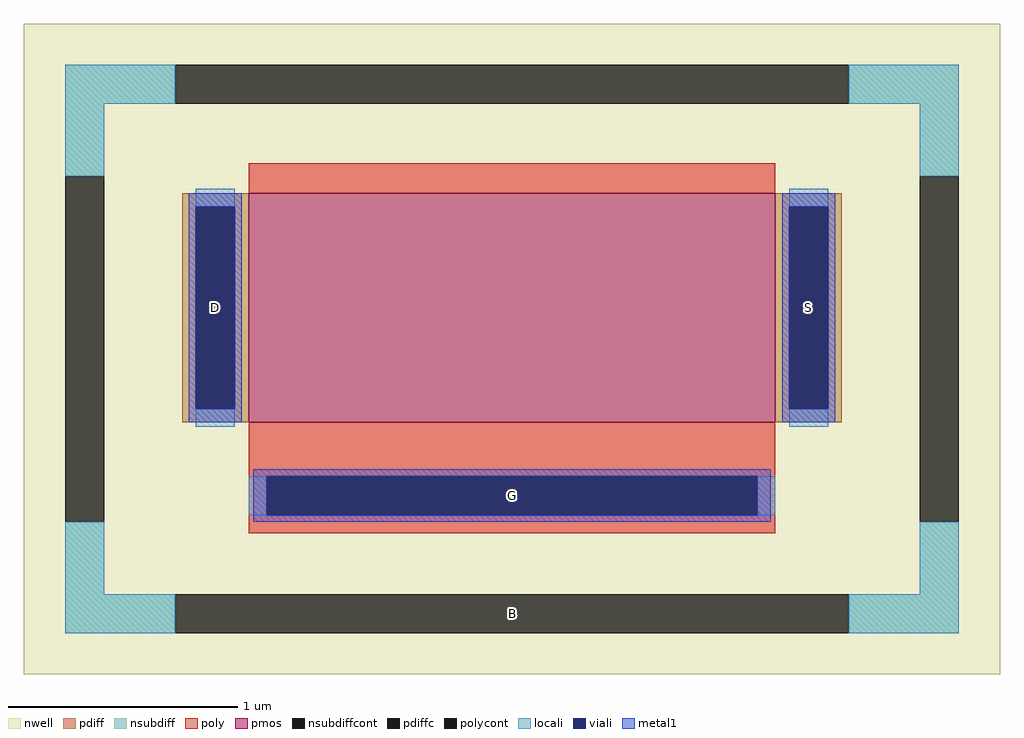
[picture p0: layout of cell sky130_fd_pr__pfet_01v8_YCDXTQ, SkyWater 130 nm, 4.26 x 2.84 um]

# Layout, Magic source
magic
tech sky130A
magscale 1 2
<< nwell >>
rect -426 -284 426 284
<< pmos >>
rect -230 -64 230 136
<< pdiff >>
rect -288 124 -230 136
rect -288 -52 -276 124
rect -242 -52 -230 124
rect -288 -64 -230 -52
rect 230 124 288 136
rect 230 -52 242 124
rect 276 -52 288 124
rect 230 -64 288 -52
<< pdiffc >>
rect -276 -52 -242 124
rect 242 -52 276 124
<< nsubdiff >>
rect -390 214 -294 248
rect 294 214 390 248
rect -390 151 -356 214
rect 356 151 390 214
rect -390 -214 -356 -151
rect 356 -214 390 -151
rect -390 -248 -294 -214
rect 294 -248 390 -214
<< nsubdiffcont >>
rect -294 214 294 248
rect -390 -151 -356 151
rect 356 -151 390 151
rect -294 -248 294 -214
<< poly >>
rect -230 136 230 162
rect -230 -111 230 -64
rect -230 -145 -214 -111
rect 214 -145 230 -111
rect -230 -161 230 -145
<< polycont >>
rect -214 -145 214 -111
<< locali >>
rect -390 214 -294 248
rect 294 214 390 248
rect -390 151 -356 214
rect 356 151 390 214
rect -276 124 -242 140
rect -276 -68 -242 -52
rect 242 124 276 140
rect 242 -68 276 -52
rect -230 -145 -214 -111
rect 214 -145 230 -111
rect -390 -214 -356 -151
rect 356 -214 390 -151
rect -390 -248 -294 -214
rect 294 -248 390 -214
<< viali >>
rect -276 -52 -242 124
rect 242 -52 276 124
rect -214 -145 214 -111
<< metal1 >>
rect -282 124 -236 136
rect -282 -52 -276 124
rect -242 -52 -236 124
rect -282 -64 -236 -52
rect 236 124 282 136
rect 236 -52 242 124
rect 276 -52 282 124
rect 236 -64 282 -52
rect -226 -111 226 -105
rect -226 -145 -214 -111
rect 214 -145 226 -111
rect -226 -151 226 -145
<< labels >>
rlabel nsubdiffcont 0 -231 0 -231 0 B
port 1 nsew
rlabel pdiffc -259 36 -259 36 0 D
port 2 nsew
rlabel pdiffc 259 36 259 36 0 S
port 3 nsew
rlabel polycont 0 -128 0 -128 0 G
port 4 nsew
<< properties >>
string FIXED_BBOX -373 -231 373 231
string gencell sky130_fd_pr__pfet_01v8
string library sky130
string parameters w 1 l 2.3 m 1 nf 1 diffcov 100 polycov 100 guard 1 glc 1 grc 1 gtc 1 gbc 1 tbcov 100 rlcov 100 topc 0 botc 1 poverlap 0 doverlap 1 lmin 0.15 wmin 0.42 class mosfet compatible {sky130_fd_pr__pfet_01v8  sky130_fd_pr__pfet_01v8_lvt sky130_fd_pr__pfet_01v8_hvt  sky130_fd_pr__pfet_g5v0d10v5} full_metal 1 conn_gates 0 viasrc 100 viadrn 100 viagate 100 viagb 0 viagr 0 viagl 0 viagt 0 doports 1
<< end >>
